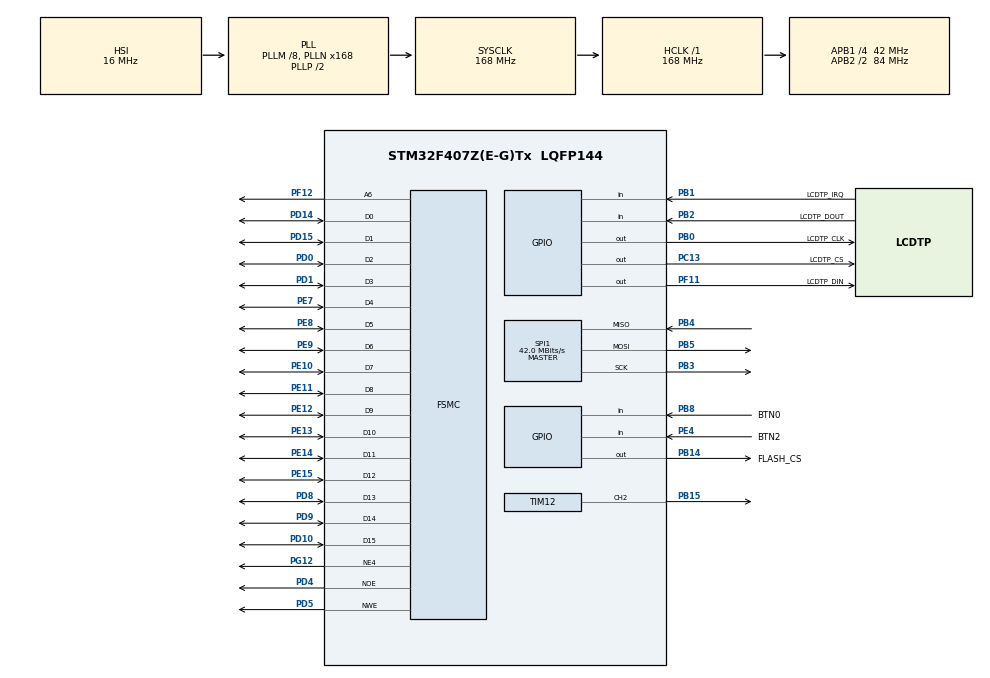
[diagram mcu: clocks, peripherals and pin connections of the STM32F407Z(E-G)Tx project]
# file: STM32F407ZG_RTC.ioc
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FSMC.BusTurnAroundDuration1=0
FSMC.DataSetupTime1=60
FSMC.ExtendedAddressSetupTime1=4
FSMC.ExtendedBusTurnAroundDuration1=0
FSMC.ExtendedDataSetupTime1=5
FSMC.ExtendedMode1=FSMC_EXTENDED_MODE_ENABLE
Mcu.Family=STM32F4
Mcu.Name=STM32F407Z(E-G)Tx
Mcu.Package=LQFP144
NVIC.PriorityGroup=NVIC_PRIORITYGROUP_4
NVIC.TIM4_IRQn=true\:0\:0\:false\:false\:true\:true\:true\:true
PB0.GPIO_Label=LCDTP_CLK
PB0.GPIO_Speed=GPIO_SPEED_FREQ_VERY_HIGH
PB0.Signal=GPIO_Output
PB1.GPIO_Label=LCDTP_IRQ
PB1.Signal=GPIO_Input
PB14.GPIO_Label=FLASH_CS
PB14.Signal=GPIO_Output
PB15.Signal=S_TIM12_CH2
PB2.GPIO_Label=LCDTP_DOUT
PB2.Signal=GPIO_Input
PB3.Mode=Full_Duplex_Master
PB3.Signal=SPI1_SCK
PB4.Mode=Full_Duplex_Master
PB4.Signal=SPI1_MISO
PB5.Mode=Full_Duplex_Master
PB5.Signal=SPI1_MOSI
PB8.GPIO_Label=BTN0
PB8.GPIO_PuPd=GPIO_PULLUP
PB8.Signal=GPIO_Input
PC13-ANTI_TAMP.GPIO_Label=LCDTP_CS
PC13-ANTI_TAMP.PinState=GPIO_PIN_SET
PC13-ANTI_TAMP.Signal=GPIO_Output
PC14-OSC32_IN.Mode=LSE-External-Oscillator
PC14-OSC32_IN.Signal=RCC_OSC32_IN
PC15-OSC32_OUT.Mode=LSE-External-Oscillator
PC15-OSC32_OUT.Signal=RCC_OSC32_OUT
PD0.Signal=FSMC_D2_DA2
PD1.Signal=FSMC_D3_DA3
PD10.Signal=FSMC_D15_DA15
PD14.Signal=FSMC_D0_DA0
PD15.Signal=FSMC_D1_DA1
PD4.Signal=FSMC_NOE
PD5.Signal=FSMC_NWE
PD8.Signal=FSMC_D13_DA13
PD9.Signal=FSMC_D14_DA14
PE10.Signal=FSMC_D7_DA7
PE11.Signal=FSMC_D8_DA8
PE12.Signal=FSMC_D9_DA9
PE13.Signal=FSMC_D10_DA10
PE14.Signal=FSMC_D11_DA11
PE15.Signal=FSMC_D12_DA12
PE4.GPIO_Label=BTN2
PE4.GPIO_PuPd=GPIO_PULLUP
PE4.Signal=GPIO_Input
PE7.Signal=FSMC_D4_DA4
PE8.Signal=FSMC_D5_DA5
PE9.Signal=FSMC_D6_DA6
PF11.GPIO_Label=LCDTP_DIN
PF11.GPIO_Speed=GPIO_SPEED_FREQ_VERY_HIGH
PF11.PinState=GPIO_PIN_SET
PF11.Signal=GPIO_Output
PF12.Signal=FSMC_A6
PG12.Mode=NorPsramChipSelect4_1
PG12.Signal=FSMC_NE4
PH0-OSC_IN.Mode=HSE-External-Oscillator
PH0-OSC_IN.Signal=RCC_OSC_IN
PH1-OSC_OUT.Mode=HSE-External-Oscillator
PH1-OSC_OUT.Signal=RCC_OSC_OUT
ProjectManager.HeapSize=0x800
ProjectManager.StackSize=0x800
ProjectManager.TargetToolchain=STM32CubeIDE
RCC.48MHZClocksFreq_Value=48000000
RCC.AHBFreq_Value=168000000
RCC.APB1CLKDivider=RCC_HCLK_DIV4
RCC.APB1Freq_Value=42000000
RCC.APB1TimFreq_Value=84000000
RCC.APB2CLKDivider=RCC_HCLK_DIV2
RCC.APB2Freq_Value=84000000
RCC.APB2TimFreq_Value=168000000
RCC.CortexFreq_Value=168000000
RCC.HCLKFreq_Value=168000000
RCC.HSE_VALUE=25000000
RCC.HSI_VALUE=16000000
RCC.PLLM=8
RCC.PLLN=168
RCC.PLLQ=7
RCC.RCC_RTC_Clock_Source=RCC_RTCCLKSOURCE_LSE
RCC.RCC_RTC_Clock_SourceVirtual=RCC_RTCCLKSOURCE_LSE
RCC.SYSCLKFreq_VALUE=168000000
RCC.SYSCLKSource=RCC_SYSCLKSOURCE_PLLCLK
RCC.VCOOutputFreq_Value=336000000
SH.FSMC_A6.0=FSMC_A6,A6_1
SH.FSMC_D0_DA0.0=FSMC_D0,16b-d1
SH.FSMC_D10_DA10.0=FSMC_D10,16b-d1
SH.FSMC_D11_DA11.0=FSMC_D11,16b-d1
SH.FSMC_D12_DA12.0=FSMC_D12,16b-d1
SH.FSMC_D13_DA13.0=FSMC_D13,16b-d1
SH.FSMC_D14_DA14.0=FSMC_D14,16b-d1
SH.FSMC_D15_DA15.0=FSMC_D15,16b-d1
SH.FSMC_D1_DA1.0=FSMC_D1,16b-d1
SH.FSMC_D2_DA2.0=FSMC_D2,16b-d1
SH.FSMC_D3_DA3.0=FSMC_D3,16b-d1
SH.FSMC_D4_DA4.0=FSMC_D4,16b-d1
SH.FSMC_D5_DA5.0=FSMC_D5,16b-d1
SH.FSMC_D6_DA6.0=FSMC_D6,16b-d1
SH.FSMC_D7_DA7.0=FSMC_D7,16b-d1
SH.FSMC_D8_DA8.0=FSMC_D8,16b-d1
SH.FSMC_D9_DA9.0=FSMC_D9,16b-d1
SH.FSMC_NOE.0=FSMC_NOE,Lcd1
SH.FSMC_NWE.0=FSMC_NWE,Lcd1
SH.S_TIM12_CH2.0=TIM12_CH2,PWM Generation2 CH2
SPI1.CalculateBaudRate=42.0 MBits/s
SPI1.Direction=SPI_DIRECTION_2LINES
SPI1.Mode=SPI_MODE_MASTER
SPI1.VirtualType=VM_MASTER
TIM12.AutoReloadPreload=TIM_AUTORELOAD_PRELOAD_ENABLE
TIM12.Channel-PWM\ Generation2\ CH2=TIM_CHANNEL_2
TIM12.Prescaler=2
TIM4.Period=4999
TIM4.Prescaler=8400-1
TIM6.Prescaler=84-1
VP_RNG_VS_RNG.Mode=RNG_Activate
VP_RTC_VS_RTC_Activate.Mode=RTC_Enabled
VP_TIM12_VS_ClockSourceINT.Mode=Internal
VP_TIM4_VS_ClockSourceINT.Mode=Internal
VP_TIM6_VS_ClockSourceINT.Mode=Enable_Timer
board=custom

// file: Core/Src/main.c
/* USER CODE BEGIN Header */
/**
  ******************************************************************************
  * @file           : main.c
  * @brief          : Main program body
  ******************************************************************************
  * @attention
  *
  * Copyright (c) 2025 STMicroelectronics.
  * All rights reserved.
  *
  * This software is licensed under terms that can be found in the LICENSE file
  * in the root directory of this software component.
  * If no LICENSE file comes with this software, it is provided AS-IS.
  *
  ******************************************************************************
  */
/* USER CODE END Header */
#include "main.h"

/* USER CODE BEGIN Includes */

#include "time.h"
#include "ili9341.h"

#include "demos.h"
#include "ADT_F.h"
#include "RTC.h"
#include "touch_panel.h"

/* USER CODE END Includes */

RNG_HandleTypeDef hrng;

RTC_HandleTypeDef hrtc;

SPI_HandleTypeDef hspi1;

TIM_HandleTypeDef htim4;
TIM_HandleTypeDef htim6;
TIM_HandleTypeDef htim12;

SRAM_HandleTypeDef hsram1;

/* USER CODE BEGIN PV */

uint8_t idx[13];
uint8_t idy[13];
extern lcdPropertiesTypeDef  lcdProperties;
extern uint16_t lcd_text_color ;
extern uint16_t lcd_background_color;

extern uint8_t LCD_WORK_ORIENTATION ;
extern uint8_t LCD_NOT_WORK_ORIENTATION ;
extern uint8_t LCD_PORTRAIT_WORK_ORIENTATION ;
extern uint8_t LCD_PORTRAIT_NOT_WORK_ORIENTATION ;

extern uint8_t change_colors ;
extern uint8_t mode_night ;

extern void main_app(void);

/* USER CODE END PV */

void SystemClock_Config(void);
static void MX_GPIO_Init(void);
static void MX_FSMC_Init(void);
static void MX_RNG_Init(void);
static void MX_RTC_Init(void);
static void MX_TIM12_Init(void);
static void MX_SPI1_Init(void);
static void MX_TIM4_Init(void);
static void MX_TIM6_Init(void);
/* USER CODE BEGIN PFP */

extern void start_Paint(void);

/* USER CODE END PFP */

int main(void)
{

  /* MCU Configuration--------------------------------------------------------*/

  /* Reset of all peripherals, Initializes the Flash interface and the Systick. */
  HAL_Init();

  /* Configure the system clock */
  SystemClock_Config();

  /* Initialize all configured peripherals */
  MX_GPIO_Init();
  MX_FSMC_Init();
  MX_RNG_Init();
  MX_RTC_Init();
  MX_TIM12_Init();
  MX_SPI1_Init();
  MX_TIM4_Init();
  MX_TIM6_Init();
  /* USER CODE BEGIN 2 */
  //===========================================
  check_work_orientation();
  check_slideshow();
  HAL_TIM_Base_Stop_IT(&htim4); // stop INTERRUPT from TIMER4 for colon blink

  change_colors = HAL_RTCEx_BKUPRead(&hrtc, RTC_BKP_DR2);
  mode_night = HAL_RTCEx_BKUPRead(&hrtc, RTC_BKP_DR3);
  READ_CENTURY();
//
  CHECK_CALIBRATE_TIME_VALUES(); // check calibration time values and setup if needed
  //===========================================
  LCD_ILI9341_init();
  check_work_orientation();
  lcdSetOrientation(LCD_WORK_ORIENTATION);
  //====================================================

  readPicFromFlash(7);

  for (int t = 65535; t > 0; t -= 32)
  {
	  HAL_Delay(1);
    __HAL_TIM_SET_COMPARE(&htim12, TIM_CHANNEL_2, t);
  }

  LCD_ClrScr(0);
//  HAL_Delay(500);

  set_PWM();
  print_RTC();

  /* USER CODE END 2 */

  /* Infinite loop */
  /* USER CODE BEGIN WHILE */
  while (1)
  {

	  test_print_RTC();
	  test_setup();

    /* USER CODE END WHILE */

  }
}

void SystemClock_Config(void)
{
  RCC_OscInitTypeDef RCC_OscInitStruct = {0};
  RCC_ClkInitTypeDef RCC_ClkInitStruct = {0};

  /** Configure the main internal regulator output voltage
  */
  __HAL_RCC_PWR_CLK_ENABLE();
  __HAL_PWR_VOLTAGESCALING_CONFIG(PWR_REGULATOR_VOLTAGE_SCALE1);

  /** Initializes the RCC Oscillators according to the specified parameters
  * in the RCC_OscInitTypeDef structure.
  */
  RCC_OscInitStruct.OscillatorType = RCC_OSCILLATORTYPE_HSI|RCC_OSCILLATORTYPE_LSE;
  RCC_OscInitStruct.LSEState = RCC_LSE_ON;
  RCC_OscInitStruct.HSIState = RCC_HSI_ON;
  RCC_OscInitStruct.HSICalibrationValue = RCC_HSICALIBRATION_DEFAULT;
  RCC_OscInitStruct.PLL.PLLState = RCC_PLL_ON;
  RCC_OscInitStruct.PLL.PLLSource = RCC_PLLSOURCE_HSI;
  RCC_OscInitStruct.PLL.PLLM = 8;
  RCC_OscInitStruct.PLL.PLLN = 168;
  RCC_OscInitStruct.PLL.PLLP = RCC_PLLP_DIV2;
  RCC_OscInitStruct.PLL.PLLQ = 7;
  if (HAL_RCC_OscConfig(&RCC_OscInitStruct) != HAL_OK)
  {
    Error_Handler();
  }

  /** Initializes the CPU, AHB and APB buses clocks
  */
  RCC_ClkInitStruct.ClockType = RCC_CLOCKTYPE_HCLK|RCC_CLOCKTYPE_SYSCLK
                              |RCC_CLOCKTYPE_PCLK1|RCC_CLOCKTYPE_PCLK2;
  RCC_ClkInitStruct.SYSCLKSource = RCC_SYSCLKSOURCE_PLLCLK;
  RCC_ClkInitStruct.AHBCLKDivider = RCC_SYSCLK_DIV1;
  RCC_ClkInitStruct.APB1CLKDivider = RCC_HCLK_DIV4;
  RCC_ClkInitStruct.APB2CLKDivider = RCC_HCLK_DIV2;

  if (HAL_RCC_ClockConfig(&RCC_ClkInitStruct, FLASH_LATENCY_5) != HAL_OK)
  {
    Error_Handler();
  }
}

static void MX_RNG_Init(void)
{

  hrng.Instance = RNG;
  if (HAL_RNG_Init(&hrng) != HAL_OK)
  {
    Error_Handler();
  }

}

static void MX_RTC_Init(void)
{

  /** Initialize RTC Only
  */
  hrtc.Instance = RTC;
  hrtc.Init.HourFormat = RTC_HOURFORMAT_24;
  hrtc.Init.AsynchPrediv = 127;
  hrtc.Init.SynchPrediv = 255;
  hrtc.Init.OutPut = RTC_OUTPUT_DISABLE;
  hrtc.Init.OutPutPolarity = RTC_OUTPUT_POLARITY_HIGH;
  hrtc.Init.OutPutType = RTC_OUTPUT_TYPE_OPENDRAIN;
  if (HAL_RTC_Init(&hrtc) != HAL_OK)
  {
    Error_Handler();
  }

}

static void MX_SPI1_Init(void)
{

  /* SPI1 parameter configuration*/
  hspi1.Instance = SPI1;
  hspi1.Init.Mode = SPI_MODE_MASTER;
  hspi1.Init.Direction = SPI_DIRECTION_2LINES;
  hspi1.Init.DataSize = SPI_DATASIZE_8BIT;
  hspi1.Init.CLKPolarity = SPI_POLARITY_LOW;
  hspi1.Init.CLKPhase = SPI_PHASE_1EDGE;
  hspi1.Init.NSS = SPI_NSS_SOFT;
  hspi1.Init.BaudRatePrescaler = SPI_BAUDRATEPRESCALER_2;
  hspi1.Init.FirstBit = SPI_FIRSTBIT_MSB;
  hspi1.Init.TIMode = SPI_TIMODE_DISABLE;
  hspi1.Init.CRCCalculation = SPI_CRCCALCULATION_DISABLE;
  hspi1.Init.CRCPolynomial = 10;
  if (HAL_SPI_Init(&hspi1) != HAL_OK)
  {
    Error_Handler();
  }

}

static void MX_TIM4_Init(void)
{

  TIM_ClockConfigTypeDef sClockSourceConfig = {0};
  TIM_MasterConfigTypeDef sMasterConfig = {0};

  htim4.Instance = TIM4;
  htim4.Init.Prescaler = 8400-1;
  htim4.Init.CounterMode = TIM_COUNTERMODE_UP;
  htim4.Init.Period = 4999;
  htim4.Init.ClockDivision = TIM_CLOCKDIVISION_DIV1;
  htim4.Init.AutoReloadPreload = TIM_AUTORELOAD_PRELOAD_DISABLE;
  if (HAL_TIM_Base_Init(&htim4) != HAL_OK)
  {
    Error_Handler();
  }
  sClockSourceConfig.ClockSource = TIM_CLOCKSOURCE_INTERNAL;
  if (HAL_TIM_ConfigClockSource(&htim4, &sClockSourceConfig) != HAL_OK)
  {
    Error_Handler();
  }
  sMasterConfig.MasterOutputTrigger = TIM_TRGO_RESET;
  sMasterConfig.MasterSlaveMode = TIM_MASTERSLAVEMODE_DISABLE;
  if (HAL_TIMEx_MasterConfigSynchronization(&htim4, &sMasterConfig) != HAL_OK)
  {
    Error_Handler();
  }

}

static void MX_TIM6_Init(void)
{

  TIM_MasterConfigTypeDef sMasterConfig = {0};

  htim6.Instance = TIM6;
  htim6.Init.Prescaler = 84-1;
  htim6.Init.CounterMode = TIM_COUNTERMODE_UP;
  htim6.Init.Period = 65535;
  htim6.Init.AutoReloadPreload = TIM_AUTORELOAD_PRELOAD_DISABLE;
  if (HAL_TIM_Base_Init(&htim6) != HAL_OK)
  {
    Error_Handler();
  }
  sMasterConfig.MasterOutputTrigger = TIM_TRGO_RESET;
  sMasterConfig.MasterSlaveMode = TIM_MASTERSLAVEMODE_DISABLE;
  if (HAL_TIMEx_MasterConfigSynchronization(&htim6, &sMasterConfig) != HAL_OK)
  {
    Error_Handler();
  }

}

static void MX_TIM12_Init(void)
{

  TIM_ClockConfigTypeDef sClockSourceConfig = {0};
  TIM_OC_InitTypeDef sConfigOC = {0};

  htim12.Instance = TIM12;
  htim12.Init.Prescaler = 2;
  htim12.Init.CounterMode = TIM_COUNTERMODE_UP;
  htim12.Init.Period = 65535;
  htim12.Init.ClockDivision = TIM_CLOCKDIVISION_DIV1;
  htim12.Init.AutoReloadPreload = TIM_AUTORELOAD_PRELOAD_ENABLE;
  if (HAL_TIM_Base_Init(&htim12) != HAL_OK)
  {
    Error_Handler();
  }
  sClockSourceConfig.ClockSource = TIM_CLOCKSOURCE_INTERNAL;
  if (HAL_TIM_ConfigClockSource(&htim12, &sClockSourceConfig) != HAL_OK)
  {
    Error_Handler();
  }
  if (HAL_TIM_PWM_Init(&htim12) != HAL_OK)
  {
    Error_Handler();
  }
  sConfigOC.OCMode = TIM_OCMODE_PWM1;
  sConfigOC.Pulse = 0;
  sConfigOC.OCPolarity = TIM_OCPOLARITY_HIGH;
  sConfigOC.OCFastMode = TIM_OCFAST_DISABLE;
  if (HAL_TIM_PWM_ConfigChannel(&htim12, &sConfigOC, TIM_CHANNEL_2) != HAL_OK)
  {
    Error_Handler();
  }
  HAL_TIM_MspPostInit(&htim12);

}

static void MX_GPIO_Init(void)
{
  GPIO_InitTypeDef GPIO_InitStruct = {0};

  /* GPIO Ports Clock Enable */
  __HAL_RCC_GPIOE_CLK_ENABLE();
  __HAL_RCC_GPIOC_CLK_ENABLE();
  __HAL_RCC_GPIOH_CLK_ENABLE();
  __HAL_RCC_GPIOB_CLK_ENABLE();
  __HAL_RCC_GPIOF_CLK_ENABLE();
  __HAL_RCC_GPIOD_CLK_ENABLE();
  __HAL_RCC_GPIOG_CLK_ENABLE();

  /*Configure GPIO pin Output Level */
  HAL_GPIO_WritePin(LCDTP_CS_GPIO_Port, LCDTP_CS_Pin, GPIO_PIN_SET);

  /*Configure GPIO pin Output Level */
  HAL_GPIO_WritePin(GPIOB, LCDTP_CLK_Pin|FLASH_CS_Pin, GPIO_PIN_RESET);

  /*Configure GPIO pin Output Level */
  HAL_GPIO_WritePin(LCDTP_DIN_GPIO_Port, LCDTP_DIN_Pin, GPIO_PIN_SET);

  /*Configure GPIO pin : BTN2_Pin */
  GPIO_InitStruct.Pin = BTN2_Pin;
  GPIO_InitStruct.Mode = GPIO_MODE_INPUT;
  GPIO_InitStruct.Pull = GPIO_PULLUP;
  HAL_GPIO_Init(BTN2_GPIO_Port, &GPIO_InitStruct);

  /*Configure GPIO pin : LCDTP_CS_Pin */
  GPIO_InitStruct.Pin = LCDTP_CS_Pin;
  GPIO_InitStruct.Mode = GPIO_MODE_OUTPUT_PP;
  GPIO_InitStruct.Pull = GPIO_NOPULL;
  GPIO_InitStruct.Speed = GPIO_SPEED_FREQ_LOW;
  HAL_GPIO_Init(LCDTP_CS_GPIO_Port, &GPIO_InitStruct);

  /*Configure GPIO pin : LCDTP_CLK_Pin */
  GPIO_InitStruct.Pin = LCDTP_CLK_Pin;
  GPIO_InitStruct.Mode = GPIO_MODE_OUTPUT_PP;
  GPIO_InitStruct.Pull = GPIO_NOPULL;
  GPIO_InitStruct.Speed = GPIO_SPEED_FREQ_VERY_HIGH;
  HAL_GPIO_Init(LCDTP_CLK_GPIO_Port, &GPIO_InitStruct);

  /*Configure GPIO pins : LCDTP_IRQ_Pin LCDTP_DOUT_Pin */
  GPIO_InitStruct.Pin = LCDTP_IRQ_Pin|LCDTP_DOUT_Pin;
  GPIO_InitStruct.Mode = GPIO_MODE_INPUT;
  GPIO_InitStruct.Pull = GPIO_NOPULL;
  HAL_GPIO_Init(GPIOB, &GPIO_InitStruct);

  /*Configure GPIO pin : LCDTP_DIN_Pin */
  GPIO_InitStruct.Pin = LCDTP_DIN_Pin;
  GPIO_InitStruct.Mode = GPIO_MODE_OUTPUT_PP;
  GPIO_InitStruct.Pull = GPIO_NOPULL;
  GPIO_InitStruct.Speed = GPIO_SPEED_FREQ_VERY_HIGH;
  HAL_GPIO_Init(LCDTP_DIN_GPIO_Port, &GPIO_InitStruct);

  /*Configure GPIO pin : FLASH_CS_Pin */
  GPIO_InitStruct.Pin = FLASH_CS_Pin;
  GPIO_InitStruct.Mode = GPIO_MODE_OUTPUT_PP;
  GPIO_InitStruct.Pull = GPIO_NOPULL;
  GPIO_InitStruct.Speed = GPIO_SPEED_FREQ_LOW;
  HAL_GPIO_Init(FLASH_CS_GPIO_Port, &GPIO_InitStruct);

  /*Configure GPIO pin : BTN0_Pin */
  GPIO_InitStruct.Pin = BTN0_Pin;
  GPIO_InitStruct.Mode = GPIO_MODE_INPUT;
  GPIO_InitStruct.Pull = GPIO_PULLUP;
  HAL_GPIO_Init(BTN0_GPIO_Port, &GPIO_InitStruct);

}

/* FSMC initialization function */
static void MX_FSMC_Init(void)
{

  FSMC_NORSRAM_TimingTypeDef Timing = {0};
  FSMC_NORSRAM_TimingTypeDef ExtTiming = {0};

  /** Perform the SRAM1 memory initialization sequence
  */
  hsram1.Instance = FSMC_NORSRAM_DEVICE;
  hsram1.Extended = FSMC_NORSRAM_EXTENDED_DEVICE;
  /* hsram1.Init */
  hsram1.Init.NSBank = FSMC_NORSRAM_BANK4;
  hsram1.Init.DataAddressMux = FSMC_DATA_ADDRESS_MUX_DISABLE;
  hsram1.Init.MemoryType = FSMC_MEMORY_TYPE_SRAM;
  hsram1.Init.MemoryDataWidth = FSMC_NORSRAM_MEM_BUS_WIDTH_16;
  hsram1.Init.BurstAccessMode = FSMC_BURST_ACCESS_MODE_DISABLE;
  hsram1.Init.WaitSignalPolarity = FSMC_WAIT_SIGNAL_POLARITY_LOW;
  hsram1.Init.WrapMode = FSMC_WRAP_MODE_DISABLE;
  hsram1.Init.WaitSignalActive = FSMC_WAIT_TIMING_BEFORE_WS;
  hsram1.Init.WriteOperation = FSMC_WRITE_OPERATION_ENABLE;
  hsram1.Init.WaitSignal = FSMC_WAIT_SIGNAL_DISABLE;
  hsram1.Init.ExtendedMode = FSMC_EXTENDED_MODE_ENABLE;
  hsram1.Init.AsynchronousWait = FSMC_ASYNCHRONOUS_WAIT_DISABLE;
  hsram1.Init.WriteBurst = FSMC_WRITE_BURST_DISABLE;
  hsram1.Init.PageSize = FSMC_PAGE_SIZE_NONE;
  /* Timing */
  Timing.AddressSetupTime = 15;
  Timing.AddressHoldTime = 15;
  Timing.DataSetupTime = 60;
  Timing.BusTurnAroundDuration = 0;
  Timing.CLKDivision = 16;
  Timing.DataLatency = 17;
  Timing.AccessMode = FSMC_ACCESS_MODE_A;
  /* ExtTiming */
  ExtTiming.AddressSetupTime = 4;
  ExtTiming.AddressHoldTime = 15;
  ExtTiming.DataSetupTime = 5;
  ExtTiming.BusTurnAroundDuration = 0;
  ExtTiming.CLKDivision = 16;
  ExtTiming.DataLatency = 17;
  ExtTiming.AccessMode = FSMC_ACCESS_MODE_A;

  if (HAL_SRAM_Init(&hsram1, &Timing, &ExtTiming) != HAL_OK)
  {
    Error_Handler( );
  }

}

void Error_Handler(void)
{
  __disable_irq();
  while (1)
  {
  }
}
